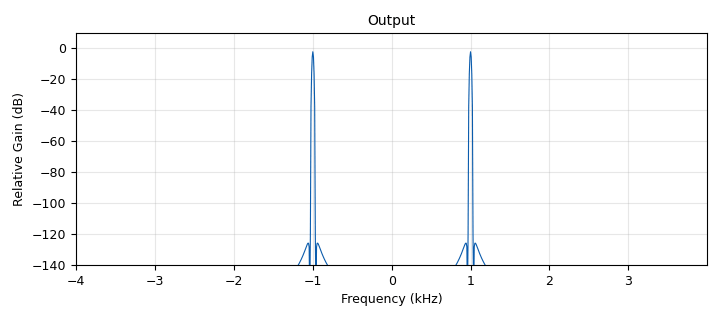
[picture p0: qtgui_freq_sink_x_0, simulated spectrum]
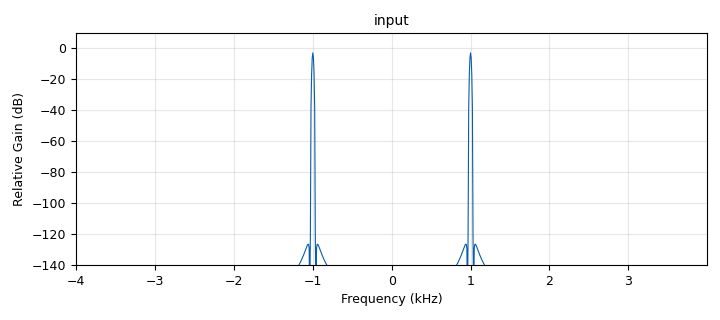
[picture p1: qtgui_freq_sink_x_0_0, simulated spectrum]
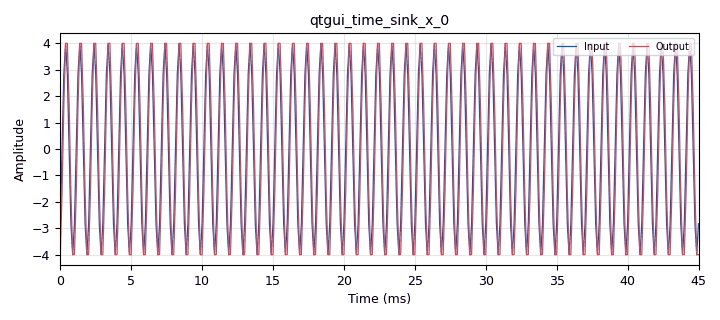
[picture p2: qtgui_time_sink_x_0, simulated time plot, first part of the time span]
options:
  parameters:
    generate_options: qt_gui
    id: FIR_Filter
    output_language: python
    title: Not titled yet
  states: {}

blocks:
- name: input_freq
  id: variable_qtgui_range
  parameters:
    start: '300'
    step: '1'
    stop: '20000'
    value: '1000'
  states: {}
- name: samp_rate
  id: variable
  parameters:
    value: '8000'
  states: {}
- name: analog_sig_source_x_0
  id: analog_sig_source_x
  parameters:
    amp: '4'
    freq: input_freq
    offset: '0'
    phase: '0'
    samp_rate: samp_rate
    type: float
    waveform: analog.GR_COS_WAVE
  states: {}
- name: blocks_throttle_0
  id: blocks_throttle
  parameters:
    samples_per_second: samp_rate
    type: float
  states: {}
- name: epy_block_0
  id: epy_block
  parameters:
    _source_code: |
      """
      Embedded Python Blocks:

      Each time this file is saved, GRC will instantiate the first class it finds
      to get ports and parameters of your block. The arguments to __init__  will
      be the parameters. All of them are required to have default values!
      """

      import numpy as np
      from gnuradio import gr

      buff=[0,0,0,0,0,0,0,0,0,0,0,0] #global decleration

      class blk(gr.sync_block):  # other base classes are basic_block, decim_block, interp_block
          """Embedded Python Block example - a simple multiply const"""

          def __init__(self, example_param=1.0):  # only default arguments here
              """arguments to this function show up as parameters in GRC"""
              gr.sync_block.__init__(
                  self,
                  name='Embedded Python Block',   # will show up in GRC
                  in_sig=[np.float32], # changing input type to float
                  out_sig=[np.float32] # changing output type to float
              )

              self.example_param = example_param
              self.IR_length = 12 # Length of FIR filter


              # YOUR FILTER COEFFICIENTS
              self.coefs=[1,-1,1,-1,1,-1,1,-1,1,-1,1,-1]

              self.output=0
              self.temp=0
              self.input=0
              
              
              
       
          def work(self, input_items, output_items):
              """example: multiply with constant"""

              # WRITE YOUR CODE HERE
          
              self.input=input_items[0][0]
                          
              for j in range(self.IR_length-1,-1,-1):
                  # Code to shift buffer
                  buff[j] = buff[j-1]
              
              buff[0]=self.input
              self.output=0
              
              for j in range(0,self.IR_length):
                  # Multiply buffer with coefficients and accumulate in output.
                  self.output = self.output + buff[j]*self.coefs[j]

              output_items[0][0] = self.output
              return 1
    example_param: '1.0'
  states: {}
- name: qtgui_freq_sink_x_0
  id: qtgui_freq_sink_x
  parameters:
    bw: samp_rate
    ctrlpanel: 'True'
    fc: '0'
    fftsize: '1024'
    name: '"Output"'
    type: float
  states: {}
- name: qtgui_freq_sink_x_0_0
  id: qtgui_freq_sink_x
  parameters:
    bw: samp_rate
    ctrlpanel: 'True'
    fc: '0'
    fftsize: '1024'
    name: '"input"'
    type: float
  states: {}
- name: qtgui_time_sink_x_0
  id: qtgui_time_sink_x
  parameters:
    autoscale: 'True'
    grid: 'True'
    label1: Input
    label2: Output
    nconnections: '2'
    size: '1024'
    srate: samp_rate
    type: float
  states: {}

connections:
- [analog_sig_source_x_0, '0', blocks_throttle_0, '0']
- [analog_sig_source_x_0, '0', qtgui_freq_sink_x_0_0, '0']
- [analog_sig_source_x_0, '0', qtgui_time_sink_x_0, '0']
- [blocks_throttle_0, '0', epy_block_0, '0']
- [epy_block_0, '0', qtgui_freq_sink_x_0, '0']
- [epy_block_0, '0', qtgui_time_sink_x_0, '1']

metadata:
  file_format: 1
  grc_version: 3.10.7.0
